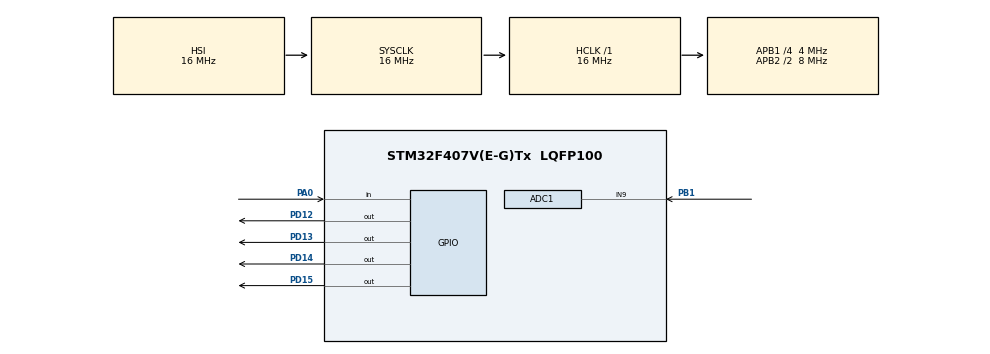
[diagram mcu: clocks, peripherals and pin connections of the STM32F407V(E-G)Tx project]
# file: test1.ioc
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ADC1.Channel-1\#ChannelRegularConversion=ADC_CHANNEL_9
ADC1.ContinuousConvMode=ENABLE
ADC1.NbrOfConversionFlag=1
ADC1.Rank-1\#ChannelRegularConversion=1
ADC1.SamplingTime-1\#ChannelRegularConversion=ADC_SAMPLETIME_3CYCLES
ADC1.master=1
Mcu.Family=STM32F4
Mcu.Name=STM32F407V(E-G)Tx
Mcu.Package=LQFP100
NVIC.PriorityGroup=NVIC_PRIORITYGROUP_0
PA0-WKUP.Signal=GPIO_Input
PA1.Signal=ADCx_IN1
PA10.Signal=USART1_RX
PA13.Mode=Serial_Wire
PA13.Signal=SYS_JTMS-SWDIO
PA14.Mode=Serial_Wire
PA14.Signal=SYS_JTCK-SWCLK
PA9.Signal=USART1_TX
PB1.Signal=ADCx_IN9
PD12.Signal=GPIO_Output
PD13.Signal=GPIO_Output
PD14.Signal=GPIO_Output
PD15.Signal=GPIO_Output
ProjectManager.HeapSize=0x200
ProjectManager.StackSize=0x400
ProjectManager.TargetToolchain=STM32CubeIDE
RCC.48MHZClocksFreq_Value=96000000
RCC.AHBFreq_Value=16000000
RCC.APB1CLKDivider=RCC_HCLK_DIV4
RCC.APB1Freq_Value=4000000
RCC.APB1TimFreq_Value=8000000
RCC.APB2CLKDivider=RCC_HCLK_DIV2
RCC.APB2Freq_Value=8000000
RCC.APB2TimFreq_Value=16000000
RCC.CortexFreq_Value=16000000
RCC.HCLKFreq_Value=16000000
RCC.HSE_VALUE=8000000
RCC.HSI_VALUE=16000000
RCC.LSE_VALUE=32768
RCC.PLLM=8
RCC.PLLN=336
RCC.PLLQ=7
RCC.SYSCLKFreq_VALUE=16000000
RCC.VCOOutputFreq_Value=672000000
SH.ADCx_IN1.0=ADC1_IN1
SH.ADCx_IN9.0=ADC1_IN9,IN9
board=STM32F407G-DISC1

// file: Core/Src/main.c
/* USER CODE BEGIN Header */
/**
  ******************************************************************************
  * @file           : main.c
  * @brief          : Main program body
  ******************************************************************************
  * @attention
  *
  * Copyright (c) 2024 STMicroelectronics.
  * All rights reserved.
  *
  * This software is licensed under terms that can be found in the LICENSE file
  * in the root directory of this software component.
  * If no LICENSE file comes with this software, it is provided AS-IS.
  *
  ******************************************************************************
  */
/* USER CODE END Header */
#include "main.h"

ADC_HandleTypeDef hadc1;

void SystemClock_Config(void);
static void MX_GPIO_Init(void);
static void MX_ADC1_Init(void);

/* USER CODE BEGIN 0 */
volatile long pot = 0, speed;

/* USER CODE END 0 */

int main(void)
{

  /* MCU Configuration--------------------------------------------------------*/

  /* Reset of all peripherals, Initializes the Flash interface and the Systick. */
  HAL_Init();

  /* Configure the system clock */
  SystemClock_Config();

  /* Initialize all configured peripherals */
  MX_GPIO_Init();
  MX_ADC1_Init();
  /* USER CODE BEGIN 2 */

  int threshold1 = 5000;
  	int threshold2 = 10000;
  	int threshold3 = 25000;
  	int threshold4  = 40000;

  /* USER CODE END 2 */

  /* Infinite loop */
  while (1)
  {

    /* USER CODE BEGIN 3 */
	    HAL_ADC_Start(&hadc1);
		HAL_ADC_PollForConversion(&hadc1,1000);
		pot = HAL_ADC_GetValue(&hadc1);

		if(HAL_GPIO_ReadPin(GPIOA,GPIO_PIN_0)){
			speed=pot*65520/4095;
		if(speed > threshold4){
			HAL_GPIO_WritePin(GPIOD, GPIO_PIN_12, 0);
			HAL_GPIO_WritePin(GPIOD, GPIO_PIN_13, 0);
			HAL_GPIO_WritePin(GPIOD, GPIO_PIN_14, 0);
			HAL_GPIO_WritePin(GPIOD, GPIO_PIN_15, 1);
		}
		else if(speed > threshold3){
			HAL_GPIO_WritePin(GPIOD, GPIO_PIN_12, 0);
			HAL_GPIO_WritePin(GPIOD, GPIO_PIN_13, 0);
			HAL_GPIO_WritePin(GPIOD, GPIO_PIN_14, 1);
			HAL_GPIO_WritePin(GPIOD, GPIO_PIN_15, 0);
		}
		else if(speed > threshold2){
			HAL_GPIO_WritePin(GPIOD, GPIO_PIN_14, 0);
			HAL_GPIO_WritePin(GPIOD, GPIO_PIN_15, 0);
			HAL_GPIO_WritePin(GPIOD, GPIO_PIN_12, 0);
			HAL_GPIO_WritePin(GPIOD, GPIO_PIN_13, 1);
		}
		else if(speed > threshold1){
				HAL_GPIO_WritePin(GPIOD, GPIO_PIN_12, 1);
				HAL_GPIO_WritePin(GPIOD, GPIO_PIN_13, 0);
				HAL_GPIO_WritePin(GPIOD, GPIO_PIN_14, 0);
				HAL_GPIO_WritePin(GPIOD, GPIO_PIN_15, 0);
				}
		else {
				HAL_GPIO_WritePin(GPIOD, GPIO_PIN_12, 0);
				HAL_GPIO_WritePin(GPIOD, GPIO_PIN_13, 0);
				HAL_GPIO_WritePin(GPIOD, GPIO_PIN_14, 0);
				HAL_GPIO_WritePin(GPIOD, GPIO_PIN_15, 0);
		}

		}

  }
  /* USER CODE END 3 */
}

void SystemClock_Config(void)
{
  RCC_OscInitTypeDef RCC_OscInitStruct = {0};
  RCC_ClkInitTypeDef RCC_ClkInitStruct = {0};

  /** Configure the main internal regulator output voltage
  */
  __HAL_RCC_PWR_CLK_ENABLE();
  __HAL_PWR_VOLTAGESCALING_CONFIG(PWR_REGULATOR_VOLTAGE_SCALE1);

  /** Initializes the RCC Oscillators according to the specified parameters
  * in the RCC_OscInitTypeDef structure.
  */
  RCC_OscInitStruct.OscillatorType = RCC_OSCILLATORTYPE_HSI;
  RCC_OscInitStruct.HSIState = RCC_HSI_ON;
  RCC_OscInitStruct.HSICalibrationValue = RCC_HSICALIBRATION_DEFAULT;
  RCC_OscInitStruct.PLL.PLLState = RCC_PLL_NONE;
  if (HAL_RCC_OscConfig(&RCC_OscInitStruct) != HAL_OK)
  {
    Error_Handler();
  }

  /** Initializes the CPU, AHB and APB buses clocks
  */
  RCC_ClkInitStruct.ClockType = RCC_CLOCKTYPE_HCLK|RCC_CLOCKTYPE_SYSCLK
                              |RCC_CLOCKTYPE_PCLK1|RCC_CLOCKTYPE_PCLK2;
  RCC_ClkInitStruct.SYSCLKSource = RCC_SYSCLKSOURCE_HSI;
  RCC_ClkInitStruct.AHBCLKDivider = RCC_SYSCLK_DIV1;
  RCC_ClkInitStruct.APB1CLKDivider = RCC_HCLK_DIV4;
  RCC_ClkInitStruct.APB2CLKDivider = RCC_HCLK_DIV2;

  if (HAL_RCC_ClockConfig(&RCC_ClkInitStruct, FLASH_LATENCY_0) != HAL_OK)
  {
    Error_Handler();
  }
}

static void MX_ADC1_Init(void)
{

  ADC_ChannelConfTypeDef sConfig = {0};

  /** Configure the global features of the ADC (Clock, Resolution, Data Alignment and number of conversion)
  */
  hadc1.Instance = ADC1;
  hadc1.Init.ClockPrescaler = ADC_CLOCK_SYNC_PCLK_DIV2;
  hadc1.Init.Resolution = ADC_RESOLUTION_12B;
  hadc1.Init.ScanConvMode = DISABLE;
  hadc1.Init.ContinuousConvMode = ENABLE;
  hadc1.Init.DiscontinuousConvMode = DISABLE;
  hadc1.Init.ExternalTrigConvEdge = ADC_EXTERNALTRIGCONVEDGE_NONE;
  hadc1.Init.ExternalTrigConv = ADC_SOFTWARE_START;
  hadc1.Init.DataAlign = ADC_DATAALIGN_RIGHT;
  hadc1.Init.NbrOfConversion = 1;
  hadc1.Init.DMAContinuousRequests = DISABLE;
  hadc1.Init.EOCSelection = ADC_EOC_SINGLE_CONV;
  if (HAL_ADC_Init(&hadc1) != HAL_OK)
  {
    Error_Handler();
  }

  /** Configure for the selected ADC regular channel its corresponding rank in the sequencer and its sample time.
  */
  sConfig.Channel = ADC_CHANNEL_9;
  sConfig.Rank = 1;
  sConfig.SamplingTime = ADC_SAMPLETIME_3CYCLES;
  if (HAL_ADC_ConfigChannel(&hadc1, &sConfig) != HAL_OK)
  {
    Error_Handler();
  }

}

static void MX_GPIO_Init(void)
{
  GPIO_InitTypeDef GPIO_InitStruct = {0};

  /* GPIO Ports Clock Enable */
  __HAL_RCC_GPIOA_CLK_ENABLE();
  __HAL_RCC_GPIOB_CLK_ENABLE();
  __HAL_RCC_GPIOD_CLK_ENABLE();

  /*Configure GPIO pin Output Level */
  HAL_GPIO_WritePin(GPIOD, GPIO_PIN_12|GPIO_PIN_13|GPIO_PIN_14|GPIO_PIN_15, GPIO_PIN_RESET);

  /*Configure GPIO pin : PA0 */
  GPIO_InitStruct.Pin = GPIO_PIN_0;
  GPIO_InitStruct.Mode = GPIO_MODE_INPUT;
  GPIO_InitStruct.Pull = GPIO_NOPULL;
  HAL_GPIO_Init(GPIOA, &GPIO_InitStruct);

  /*Configure GPIO pins : PD12 PD13 PD14 PD15 */
  GPIO_InitStruct.Pin = GPIO_PIN_12|GPIO_PIN_13|GPIO_PIN_14|GPIO_PIN_15;
  GPIO_InitStruct.Mode = GPIO_MODE_OUTPUT_PP;
  GPIO_InitStruct.Pull = GPIO_NOPULL;
  GPIO_InitStruct.Speed = GPIO_SPEED_FREQ_LOW;
  HAL_GPIO_Init(GPIOD, &GPIO_InitStruct);

  /*Configure GPIO pins : PA9 PA10 */
  GPIO_InitStruct.Pin = GPIO_PIN_9|GPIO_PIN_10;
  GPIO_InitStruct.Mode = GPIO_MODE_AF_PP;
  GPIO_InitStruct.Pull = GPIO_NOPULL;
  GPIO_InitStruct.Speed = GPIO_SPEED_FREQ_VERY_HIGH;
  GPIO_InitStruct.Alternate = GPIO_AF7_USART1;
  HAL_GPIO_Init(GPIOA, &GPIO_InitStruct);

}

void Error_Handler(void)
{
  __disable_irq();
  while (1)
  {
  }
}
